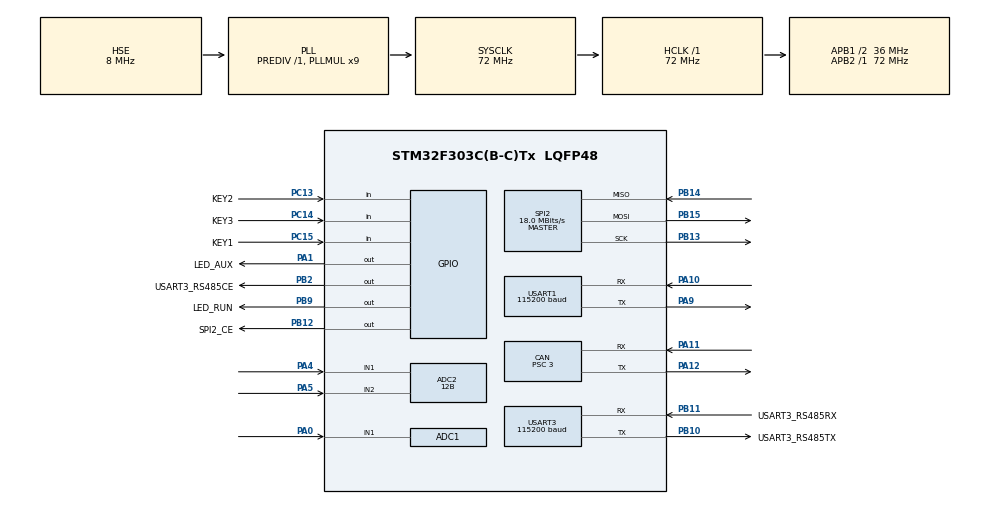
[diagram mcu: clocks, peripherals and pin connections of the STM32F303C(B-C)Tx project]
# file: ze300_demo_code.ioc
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ADC1.Channel-0\#ChannelRegularConversion=ADC_CHANNEL_1
ADC1.Channel-IN1=ADC_CHANNEL_1
ADC1.ClockPrescaler=ADC_CLOCK_ASYNC_DIV1
ADC1.ContinuousConvMode=ENABLE
ADC1.DMAContinuousRequests=ENABLE
ADC1.DataAlign=ADC_DATAALIGN_RIGHT
ADC1.DiscontinuousConvMode=DISABLE
ADC1.EOCSelection=ADC_EOC_SINGLE_CONV
ADC1.EnableAnalogWatchDog1=false
ADC1.EnableAnalogWatchDog2=false
ADC1.EnableAnalogWatchDog3=false
ADC1.EnableInjectedConversion=DISABLE
ADC1.EnableRegularConversion=ENABLE
ADC1.ExternalTrigConv=ADC_SOFTWARE_START
ADC1.ExternalTrigConvEdge=ADC_EXTERNALTRIGCONVEDGE_NONE
ADC1.LowPowerAutoWait=DISABLE
ADC1.Mode=ADC_MODE_INDEPENDENT
ADC1.NbrOfConversion=1
ADC1.Offset-0\#ChannelRegularConversion=0
ADC1.OffsetNumber-0\#ChannelRegularConversion=ADC_OFFSET_NONE
ADC1.Overrun=ADC_OVR_DATA_OVERWRITTEN
ADC1.Rank-0\#ChannelRegularConversion=1
ADC1.Resolution=ADC_RESOLUTION_12B
ADC1.SamplingTime-0\#ChannelRegularConversion=ADC_SAMPLETIME_181CYCLES_5
ADC1.SamplingTimeOPAMP=ADC_SAMPLETIME_61CYCLES_5
ADC1.ScanConvMode=ADC_SCAN_DISABLE
ADC1.SequencerNbRanks=1
ADC1.master=1
ADC2.Channel-0\#ChannelRegularConversion=ADC_CHANNEL_1
ADC2.Channel-1\#ChannelRegularConversion=ADC_CHANNEL_2
ADC2.Channel-IN1=ADC_CHANNEL_1
ADC2.Channel-IN2=ADC_CHANNEL_2
ADC2.ClockPrescaler=ADC_CLOCK_ASYNC_DIV1
ADC2.ContinuousConvMode=ENABLE
ADC2.DMAContinuousRequests=ENABLE
ADC2.DataAlign=ADC_DATAALIGN_RIGHT
ADC2.DiscontinuousConvMode=DISABLE
ADC2.EOCSelection=ADC_EOC_SINGLE_CONV
ADC2.EnableAnalogWatchDog1=false
ADC2.EnableAnalogWatchDog2=false
ADC2.EnableAnalogWatchDog3=false
ADC2.EnableInjectedConversion=DISABLE
ADC2.EnableRegularConversion=ENABLE
ADC2.ExternalTrigConv=ADC_SOFTWARE_START
ADC2.ExternalTrigConvEdge=ADC_EXTERNALTRIGCONVEDGE_NONE
ADC2.LowPowerAutoWait=DISABLE
ADC2.Mode=ADC_MODE_INDEPENDENT
ADC2.NbrOfConversion=2
ADC2.Offset-0\#ChannelRegularConversion=0
ADC2.Offset-1\#ChannelRegularConversion=0
ADC2.OffsetNumber-0\#ChannelRegularConversion=ADC_OFFSET_NONE
ADC2.OffsetNumber-1\#ChannelRegularConversion=ADC_OFFSET_NONE
ADC2.Overrun=ADC_OVR_DATA_OVERWRITTEN
ADC2.Rank-0\#ChannelRegularConversion=1
ADC2.Rank-1\#ChannelRegularConversion=2
ADC2.Resolution=ADC_RESOLUTION_12B
ADC2.SamplingTime-0\#ChannelRegularConversion=ADC_SAMPLETIME_181CYCLES_5
ADC2.SamplingTime-1\#ChannelRegularConversion=ADC_SAMPLETIME_181CYCLES_5
ADC2.SamplingTimeOPAMP=ADC_SAMPLETIME_61CYCLES_5
ADC2.ScanConvMode=ADC_SCAN_ENABLE
ADC2.SequencerNbRanks=1
CAN.ABOM=ENABLE
CAN.AWUM=ENABLE
CAN.BS1=CAN_BS1_8TQ
CAN.BS2=CAN_BS2_3TQ
CAN.CalculateBaudRate=999999
CAN.CalculateTimeBit=1000
CAN.CalculateTimeQuantum=83.33333333333334
CAN.Mode=CAN_MODE_NORMAL
CAN.NART=ENABLE
CAN.Prescaler=3
CAN.RFLM=DISABLE
CAN.SJW=CAN_SJW_1TQ
CAN.TTCM=DISABLE
CAN.TXFP=DISABLE
Dma.ADC1.1.Direction=DMA_PERIPH_TO_MEMORY
Dma.ADC1.1.Instance=DMA1_Channel1
Dma.ADC1.1.MemDataAlignment=DMA_MDATAALIGN_HALFWORD
Dma.ADC1.1.MemInc=DMA_MINC_ENABLE
Dma.ADC1.1.Mode=DMA_CIRCULAR
Dma.ADC1.1.PeriphDataAlignment=DMA_PDATAALIGN_HALFWORD
Dma.ADC1.1.PeriphInc=DMA_PINC_DISABLE
Dma.ADC1.1.Priority=DMA_PRIORITY_LOW
Dma.ADC2.0.Direction=DMA_PERIPH_TO_MEMORY
Dma.ADC2.0.Instance=DMA2_Channel1
Dma.ADC2.0.MemDataAlignment=DMA_MDATAALIGN_HALFWORD
Dma.ADC2.0.MemInc=DMA_MINC_ENABLE
Dma.ADC2.0.Mode=DMA_CIRCULAR
Dma.ADC2.0.PeriphDataAlignment=DMA_PDATAALIGN_HALFWORD
Dma.ADC2.0.PeriphInc=DMA_PINC_DISABLE
Dma.ADC2.0.Priority=DMA_PRIORITY_LOW
Dma.Request0=ADC2
Dma.Request1=ADC1
Dma.Request2=USART3_RX
Dma.Request3=USART3_TX
Dma.USART3_RX.2.Direction=DMA_PERIPH_TO_MEMORY
Dma.USART3_RX.2.Instance=DMA1_Channel3
Dma.USART3_RX.2.MemDataAlignment=DMA_MDATAALIGN_BYTE
Dma.USART3_RX.2.MemInc=DMA_MINC_ENABLE
Dma.USART3_RX.2.Mode=DMA_CIRCULAR
Dma.USART3_RX.2.PeriphDataAlignment=DMA_PDATAALIGN_BYTE
Dma.USART3_RX.2.PeriphInc=DMA_PINC_DISABLE
Dma.USART3_RX.2.Priority=DMA_PRIORITY_LOW
Dma.USART3_TX.3.Direction=DMA_MEMORY_TO_PERIPH
Dma.USART3_TX.3.Instance=DMA1_Channel2
Dma.USART3_TX.3.MemDataAlignment=DMA_MDATAALIGN_BYTE
Dma.USART3_TX.3.MemInc=DMA_MINC_ENABLE
Dma.USART3_TX.3.Mode=DMA_NORMAL
Dma.USART3_TX.3.PeriphDataAlignment=DMA_PDATAALIGN_BYTE
Dma.USART3_TX.3.PeriphInc=DMA_PINC_DISABLE
Dma.USART3_TX.3.Priority=DMA_PRIORITY_LOW
Mcu.Family=STM32F3
Mcu.Name=STM32F303C(B-C)Tx
Mcu.Package=LQFP48
NVIC.DMA1_Channel1_IRQn=true\:0\:0\:false\:false\:true\:false\:true\:true
NVIC.DMA1_Channel2_IRQn=true\:0\:0\:false\:false\:true\:false\:true\:true
NVIC.DMA1_Channel3_IRQn=true\:0\:0\:false\:false\:true\:false\:true\:true
NVIC.DMA2_Channel1_IRQn=true\:0\:0\:false\:false\:true\:false\:true\:true
NVIC.PriorityGroup=NVIC_PRIORITYGROUP_3
NVIC.USART3_IRQn=true\:3\:0\:true\:false\:true\:true\:true\:true
NVIC.USB_LP_CAN_RX0_IRQn=true\:3\:0\:true\:false\:true\:true\:true\:true
PA0.Mode=IN1-Single-Ended
PA0.Signal=ADC1_IN1
PA1.GPIO_Label=LED_AUX
PA1.Signal=GPIO_Output
PA10.Mode=Asynchronous
PA10.Signal=USART1_RX
PA11.Mode=CAN_Activate
PA11.Signal=CAN_RX
PA12.Mode=CAN_Activate
PA12.Signal=CAN_TX
PA13.Mode=Serial_Wire
PA13.Signal=SYS_JTMS-SWDIO
PA14.Mode=Serial_Wire
PA14.Signal=SYS_JTCK-SWCLK
PA3.Signal=USART2_RX
PA4.Mode=IN1-Single-Ended
PA4.Signal=ADC2_IN1
PA5.Mode=IN2-Single-Ended
PA5.Signal=ADC2_IN2
PA9.Mode=Asynchronous
PA9.Signal=USART1_TX
PB10.GPIO_Label=USART3_RS485TX
PB10.Mode=Asynchronous
PB10.Signal=USART3_TX
PB11.GPIO_Label=USART3_RS485RX
PB11.Mode=Asynchronous
PB11.Signal=USART3_RX
PB12.GPIO_Label=SPI2_CE
PB12.Signal=GPIO_Output
PB13.Mode=Full_Duplex_Master
PB13.Signal=SPI2_SCK
PB14.Mode=Full_Duplex_Master
PB14.Signal=SPI2_MISO
PB15.Mode=Full_Duplex_Master
PB15.Signal=SPI2_MOSI
PB2.GPIO_Label=USART3_RS485CE
PB2.GPIO_PuPd=GPIO_PULLDOWN
PB2.Signal=GPIO_Output
PB9.GPIO_Label=LED_RUN
PB9.Signal=GPIO_Output
PC13.GPIO_Label=KEY2
PC13.Signal=GPIO_Input
PC14-OSC32_IN.GPIO_Label=KEY3
PC14-OSC32_IN.Signal=GPIO_Input
PC15-OSC32_OUT.GPIO_Label=KEY1
PC15-OSC32_OUT.Signal=GPIO_Input
PF0-OSC_IN.Mode=HSE-External-Oscillator
PF0-OSC_IN.Signal=RCC_OSC_IN
PF1-OSC_OUT.Mode=HSE-External-Oscillator
PF1-OSC_OUT.Signal=RCC_OSC_OUT
ProjectManager.HeapSize=0x200
ProjectManager.StackSize=0x400
ProjectManager.TargetToolchain=STM32CubeIDE
RCC.AHBFreq_Value=72000000
RCC.APB1CLKDivider=RCC_HCLK_DIV2
RCC.APB1Freq_Value=36000000
RCC.APB1TimFreq_Value=72000000
RCC.APB2Freq_Value=72000000
RCC.APB2TimFreq_Value=72000000
RCC.CortexFreq_Value=72000000
RCC.FLatency=FLASH_LATENCY_2
RCC.HCLKFreq_Value=72000000
RCC.HSE_VALUE=8000000
RCC.HSI_VALUE=8000000
RCC.LSE_VALUE=32768
RCC.PLLMUL=RCC_PLL_MUL9
RCC.PLLSourceVirtual=RCC_PLLSOURCE_HSE
RCC.SYSCLKFreq_VALUE=72000000
RCC.SYSCLKSourceVirtual=RCC_SYSCLKSOURCE_PLLCLK
RCC.USBFreq_Value=72000000
SPI2.BaudRatePrescaler=SPI_BAUDRATEPRESCALER_2
SPI2.CLKPhase=SPI_PHASE_1EDGE
SPI2.CLKPolarity=SPI_POLARITY_LOW
SPI2.CRCCalculation=SPI_CRCCALCULATION_DISABLE
SPI2.CalculateBaudRate=18.0 MBits/s
SPI2.DataSize=SPI_DATASIZE_4BIT
SPI2.Direction=SPI_DIRECTION_2LINES
SPI2.FirstBit=SPI_FIRSTBIT_MSB
SPI2.Mode=SPI_MODE_MASTER
SPI2.NSS=SPI_NSS_SOFT
SPI2.NSSPMode=SPI_NSS_PULSE_ENABLE
SPI2.TIMode=SPI_TIMODE_DISABLE
SPI2.VirtualType=VM_MASTER
USART1.AutoBaudRateEnableParam=UART_ADVFEATURE_AUTOBAUDRATE_DISABLE
USART1.BaudRate=115200
USART1.DMADisableonRxErrorParam=ADVFEATURE_DMA_ENABLEONRXERROR
USART1.DataInvertParam=ADVFEATURE_DATAINV_DISABLE
USART1.MSBFirstParam=ADVFEATURE_MSBFIRST_DISABLE
USART1.Mode=MODE_TX_RX
USART1.OneBitSampling=UART_ONE_BIT_SAMPLE_DISABLE
USART1.OverSampling=UART_OVERSAMPLING_16
USART1.OverrunDisableParam=ADVFEATURE_OVERRUN_ENABLE
USART1.Parity=PARITY_NONE
USART1.RxPinLevelInvertParam=ADVFEATURE_RXINV_DISABLE
USART1.StopBits=STOPBITS_1
USART1.SwapParam=ADVFEATURE_SWAP_DISABLE
USART1.TxPinLevelInvertParam=ADVFEATURE_TXINV_DISABLE
USART1.VirtualMode-Asynchronous=VM_ASYNC
USART1.WordLength=WORDLENGTH_8B
USART3.AutoBaudRateEnableParam=UART_ADVFEATURE_AUTOBAUDRATE_DISABLE
USART3.BaudRate=115200
USART3.DMADisableonRxErrorParam=ADVFEATURE_DMA_ENABLEONRXERROR
USART3.DataInvertParam=ADVFEATURE_DATAINV_DISABLE
USART3.MSBFirstParam=ADVFEATURE_MSBFIRST_DISABLE
USART3.Mode=MODE_TX_RX
USART3.OneBitSampling=UART_ONE_BIT_SAMPLE_DISABLE
USART3.OverSampling=UART_OVERSAMPLING_16
USART3.OverrunDisableParam=ADVFEATURE_OVERRUN_ENABLE
USART3.Parity=PARITY_NONE
USART3.RxPinLevelInvertParam=ADVFEATURE_RXINV_DISABLE
USART3.StopBits=STOPBITS_1
USART3.SwapParam=ADVFEATURE_SWAP_DISABLE
USART3.TxPinLevelInvertParam=ADVFEATURE_TXINV_DISABLE
USART3.VirtualMode-Asynchronous=VM_ASYNC
USART3.WordLength=WORDLENGTH_8B
board=custom

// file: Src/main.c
/* USER CODE BEGIN Header */
/**
  ******************************************************************************
  * @file           : main.c
  * @brief          : Main program body
  ******************************************************************************
  * @attention
  *
  * <h2><center>&copy; Copyright (c) 2024 STMicroelectronics.
  * All rights reserved.</center></h2>
  *
  * This software component is licensed by ST under BSD 3-Clause license,
  * the "License"; You may not use this file except in compliance with the
  * License. You may obtain a copy of the License at:
  *                        opensource.org/licenses/BSD-3-Clause
  *
  ******************************************************************************
  */
/* USER CODE END Header */
#include "main.h"
#include "adc.h"
#include "can.h"
#include "dma.h"
#include "spi.h"
#include "usart.h"
#include "gpio.h"

/* USER CODE BEGIN Includes */
#include "multi_button.h"
#include "user_button.h"
#include "user_adc.h"
#include "stdio.h"
#include "comm_can.h"
#include "comm_rs485.h"

/* USER CODE END Includes */

/* USER CODE BEGIN PM */
#define CIRCLE_COUNTS       16384

#define MOTOR1_ADDR         1

/* USER CODE END PM */

/* USER CODE BEGIN PV */
#ifdef __GNUC__
  /* With GCC/RAISONANCE, small printf (option LD Linker->Libraries->Small printf
     set to 'Yes') calls __io_putchar() */
  #define PUTCHAR_PROTOTYPE int __io_putchar(int ch)
#else
  #define PUTCHAR_PROTOTYPE int fputc(int ch, FILE *f)
#endif /* __GNUC__ */
/**
  * @brief  Retargets the C library printf function to the USART.
  * @param  None
  * @retval None
  */
PUTCHAR_PROTOTYPE
{
  /* Place your implementation of fputc here */
  /* e.g. write a character to the USART1 and Loop until the end of transmission */
  HAL_UART_Transmit(&huart1, (uint8_t *)&ch, 1, 0xFFFF);

  return ch;
}
/* USER CODE END PV */

void SystemClock_Config(void);

/* USER CODE BEGIN 0 */

bool tick_10ms = false;
bool tick_100ms = false;
bool tick_500ms = false;
bool tick_4000ms = false;
uint8_t count_4000ms = 0;

/* USER CODE END 0 */

int main(void)
{

  /* MCU Configuration--------------------------------------------------------*/

  /* Reset of all peripherals, Initializes the Flash interface and the Systick. */
  HAL_Init();

  /* Configure the system clock */
  SystemClock_Config();

  /* Initialize all configured peripherals */
  MX_GPIO_Init();
  MX_DMA_Init();
  MX_ADC1_Init();
  MX_ADC2_Init();
  MX_CAN_Init();
  MX_SPI2_Init();
  MX_USART1_UART_Init();
  MX_USART3_UART_Init();
  /* USER CODE BEGIN 2 */
  UserButton_Init();
  UserAdc_Init();
  CommCan_Init();
  CommRs485_Init();

  /* USER CODE END 2 */

  /* Infinite loop */
  while (1)
  {

    /* USER CODE BEGIN 3 */

      if(tick_10ms)
      {
          tick_10ms = false;
      }

      if(tick_500ms)
      {
          tick_500ms = false;
          HAL_GPIO_TogglePin(LED_RUN_GPIO_Port, LED_RUN_Pin);
      }

      if(tick_4000ms)
      {

      }
  }
  /* USER CODE END 3 */
}

void SystemClock_Config(void)
{
  RCC_OscInitTypeDef RCC_OscInitStruct = {0};
  RCC_ClkInitTypeDef RCC_ClkInitStruct = {0};
  RCC_PeriphCLKInitTypeDef PeriphClkInit = {0};

  /** Initializes the RCC Oscillators according to the specified parameters
  * in the RCC_OscInitTypeDef structure.
  */
  RCC_OscInitStruct.OscillatorType = RCC_OSCILLATORTYPE_HSE;
  RCC_OscInitStruct.HSEState = RCC_HSE_ON;
  RCC_OscInitStruct.HSEPredivValue = RCC_HSE_PREDIV_DIV1;
  RCC_OscInitStruct.HSIState = RCC_HSI_ON;
  RCC_OscInitStruct.PLL.PLLState = RCC_PLL_ON;
  RCC_OscInitStruct.PLL.PLLSource = RCC_PLLSOURCE_HSE;
  RCC_OscInitStruct.PLL.PLLMUL = RCC_PLL_MUL9;
  if (HAL_RCC_OscConfig(&RCC_OscInitStruct) != HAL_OK)
  {
    Error_Handler();
  }

  /** Initializes the CPU, AHB and APB buses clocks
  */
  RCC_ClkInitStruct.ClockType = RCC_CLOCKTYPE_HCLK|RCC_CLOCKTYPE_SYSCLK
                              |RCC_CLOCKTYPE_PCLK1|RCC_CLOCKTYPE_PCLK2;
  RCC_ClkInitStruct.SYSCLKSource = RCC_SYSCLKSOURCE_PLLCLK;
  RCC_ClkInitStruct.AHBCLKDivider = RCC_SYSCLK_DIV1;
  RCC_ClkInitStruct.APB1CLKDivider = RCC_HCLK_DIV2;
  RCC_ClkInitStruct.APB2CLKDivider = RCC_HCLK_DIV1;

  if (HAL_RCC_ClockConfig(&RCC_ClkInitStruct, FLASH_LATENCY_2) != HAL_OK)
  {
    Error_Handler();
  }
  PeriphClkInit.PeriphClockSelection = RCC_PERIPHCLK_USART1|RCC_PERIPHCLK_USART3
                              |RCC_PERIPHCLK_ADC12;
  PeriphClkInit.Usart1ClockSelection = RCC_USART1CLKSOURCE_PCLK2;
  PeriphClkInit.Usart3ClockSelection = RCC_USART3CLKSOURCE_PCLK1;
  PeriphClkInit.Adc12ClockSelection = RCC_ADC12PLLCLK_DIV1;
  if (HAL_RCCEx_PeriphCLKConfig(&PeriphClkInit) != HAL_OK)
  {
    Error_Handler();
  }
}

/* USER CODE BEGIN 4 */
void HAL_SYSTICK_Callback(void)
{
    if((HAL_GetTick()%5) == 0)
	{
		button_ticks();
	}

    if((HAL_GetTick()%10) == 0)
	{
		tick_10ms = true;
	}

    if((HAL_GetTick()%100) == 0)
	{
		tick_100ms = true;
	}

    if((HAL_GetTick()%500) == 0)
	{
		tick_500ms = true;
	}

    if((HAL_GetTick()%4000) == 0)
	{
		tick_4000ms = true;
        count_4000ms++;
	}
}
/* USER CODE END 4 */

void Error_Handler(void)
{
}
